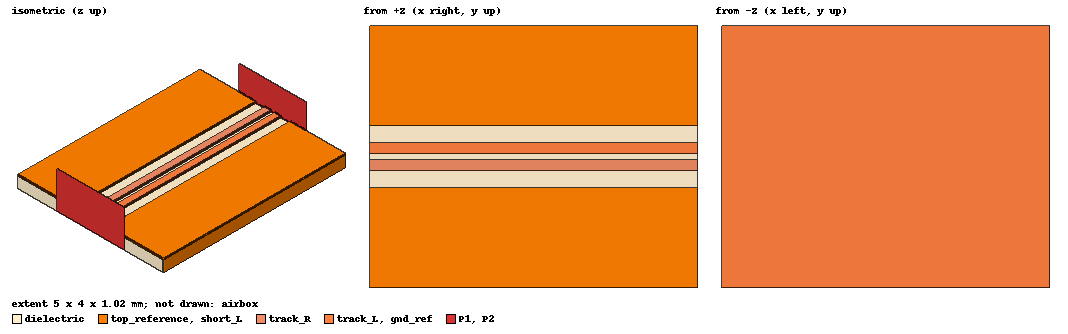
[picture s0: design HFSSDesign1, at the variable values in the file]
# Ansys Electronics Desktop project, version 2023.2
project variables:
  $model_W = 4mm
  $model_L = 5mm
  $dielectric_thickness = 300um
  $top_copper_thickness = 40um
  $track_pitch = 270um
  $track_width = 170um
  $coplanar_gap = 250um
  $port_W_ratio = 2
  $port_W = $port_W_ratio * ($track_pitch + $track_width + 2*$coplanar_gap)
  $port_H_ratio = 3
  $port_H = $port_H_ratio * ($dielectric_thickness + $top_copper_thickness)
  $airbox_clearance = 100um
  $total_lane_L = 100mm
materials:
  vacuum: permittivity=1
  Rogers RO4003 (tm): permittivity=3.55 dielectric_loss_tangent=0.0027
  copper: permeability=0.999991 conductivity=58000000
  air: permittivity=1.0006 permeability=1.0000004

design HFSSDesign1 (HFSS, HFSS Terminal Network, model units mm)
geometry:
  dielectric [Rogers RO4003 (tm)] = box(corner=(0mm, -$model_W/2, 0mm), size=($model_L, $model_W, $dielectric_thickness))
  top_reference [copper] = box(corner=(0mm, -$model_W/2, $dielectric_thickness), size=($model_L, $model_W, $top_copper_thickness))
  gnd_ref = rectangle(corner=(0mm, -$model_W/2, 0), x_size=$model_L, y_size=$model_W)
  lane_bed = box(corner=(0mm, -$track_pitch/2 -$track_width/2 -$coplanar_gap, $dielectric_thickness), size=($model_L, $track_pitch + $track_width +2*$coplanar_gap, $top_copper_thickness))
  top_reference.subtract(lane_bed)
  track_R [copper] = box(corner=(0mm, -$track_pitch/2 -$track_width/2, $dielectric_thickness), size=($model_L, $track_width, $top_copper_thickness))
  track_L [copper] = box(corner=(0mm, $track_pitch/2 - $track_width/2, $dielectric_thickness), size=($model_L, $track_width, $top_copper_thickness))
  airbox [air] = box(corner=(0mm, -$model_W/2 - $airbox_clearance/2, -$airbox_clearance), size=($model_L, $model_W + $airbox_clearance, 4mm))
  P1 = rectangle(corner=(0mm, -$port_W/2, 0mm), y_size=$port_W, z_size=$port_H)
  P2 = rectangle(corner=($model_L, -$port_W/2, 0mm), y_size=$port_W, z_size=$port_H)
  int_line_P2 = polyline(($model_L, 0mm, $dielectric_thickness) ($model_L, 0mm, 0mm))
  Polyline1 = polyline((0, 0mm, $dielectric_thickness) (0mm, 0mm, 0mm))
  short_L = rectangle(corner=(0mm, $model_W/2, 0mm), z_size=$dielectric_thickness, x_size=$model_L)
  short_R = rectangle(corner=(0mm, -$model_W/2, 0mm), z_size=$dielectric_thickness, x_size=$model_L)
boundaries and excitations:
  ref_GND: Finite Conductivity Objects=gnd_ref UseMaterial Material=copper Thickness=17.5 IsInternal
  airbox: Radiation Objects=airbox
  short_R: Lumped RLC Objects=short_R CurrentLine{(0, -2, 0.3) -> (0, -2, 0)} RLC_Type=Parallel Resistance=0ohm
  short_L: Lumped RLC Objects=short_L CurrentLine{(0, 2, 0.3) -> (0, 2, 0)} RLC_Type=Parallel Resistance=0ohm
  track_R_T1: Terminal port=P1 Faces=track_R.face(-x) TerminalResistance=50ohm
  track_L_T1: Terminal port=P1 Faces=track_L.face(-x) TerminalResistance=50ohm
  track_R_T2: Terminal port=P2 Faces=track_R.face(+x) TerminalResistance=50ohm
  track_L_T2: Terminal port=P2 Faces=track_L.face(+x) TerminalResistance=50ohm
  P1: Wave Port Faces=P1.face WavePortType=Terminal NumModes=1 DeembedDist="-($total_lane_L/2 - $model_L/2)"
  P2: Wave Port Faces=P2.face WavePortType=Terminal NumModes=1
  reference conductors: gnd_ref, top_reference
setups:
  Setup1: HfssDriven Frequency=5GHz MaxDeltaS=0.005 MaximumPasses=20 MinimumPasses=1 MinimumConvergedPasses=1 PercentRefinement=30 BasisOrder=1 PortAccuracy=0.1 DrivenSolverType="Direct Solver"
    sweep Sweep: 10MHz to 5GHz, 40 points; Type=Discrete
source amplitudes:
  P1:1: 1V 0deg
  P1:2, P2:1, P2:2: 0V 0deg
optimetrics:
  ParametricSetup1: Parametric Sim._Setups=[Setup1]
    sweep $model_L: 5mm 20mm 50mm
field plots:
  Mesh1: MeshPlots over P1.face on Setup1 : LastAdaptive at Freq=5GHz Phase=0deg
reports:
  Terminal S Parameter Plot 1: dB(St(Diff1,Diff1)) vs Freq on Setup1 : Sweep [$model_L=all]
  Solution Convergence Plot 1: SolvedElements vs Freq on Setup1 : LastAdaptive [$model_L=all]
  Solution Convergence Plot 2: SolvedElements vs Pass on Setup1 : AdaptivePass [$model_L=all Freq=all]
